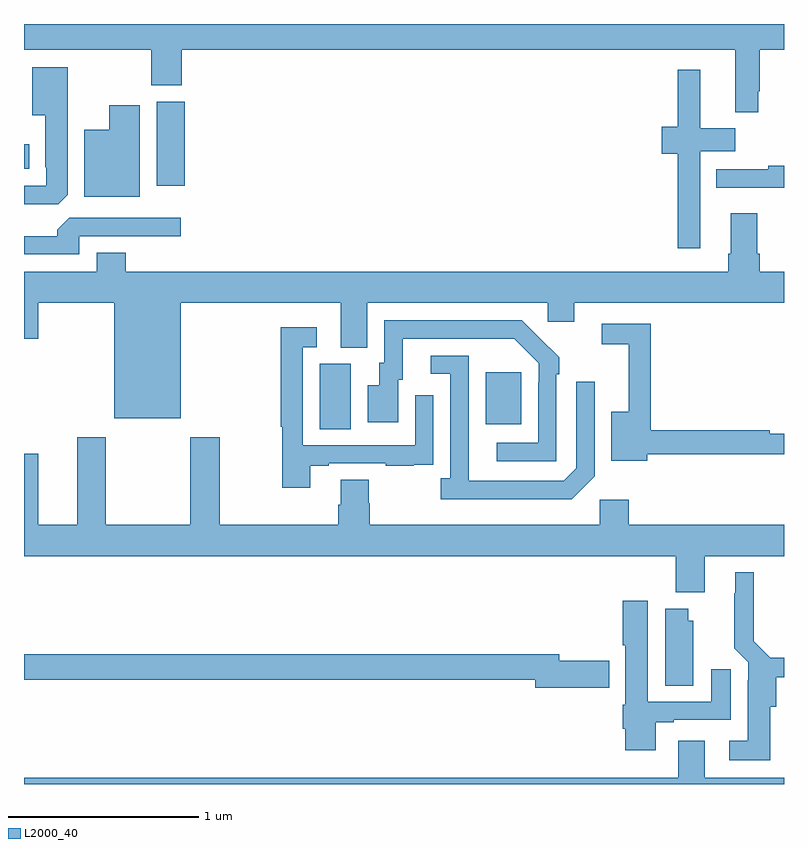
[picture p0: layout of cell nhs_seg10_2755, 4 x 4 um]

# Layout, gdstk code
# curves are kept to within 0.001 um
import gdstk
lib = gdstk.Library(unit=1e-6, precision=1e-09)
def R(c, l, rs):  # rectangles x0, y0, x1, y1
    for r in rs: c.add(gdstk.rectangle(r[:2], r[2:], *l))
def P(c, l, *ps):  # polygons
    for p in ps: c.add(gdstk.Polygon(p, *l))
L2000_40 = (2000, 40)

nhs_seg10_2755 = lib.new_cell('nhs_seg10_2755')
R(nhs_seg10_2755, L2000_40, [(262.556,1250.368,262.72,1250.712), (263.429,1250.393,263.617,1250.668), (261.698,1251.648,261.845,1252.092), (261,1251.737,261.028,1251.868)])
P(nhs_seg10_2755, L2000_40, [(264.865,1252.147),(264.873,1252.147),(264.873,1252.364),(265,1252.364),(265,1252.5),(261,1252.5),(261,1252.364),(261.67,1252.364),(261.67,1252.177),(261.83,1252.177),(261.83,1252.364),(264.743,1252.364),(264.743,1252.035),(264.865,1252.035)],
  [(261.229,1251.601),(261.229,1252.273),(261.044,1252.273),(261.044,1252.019),(261.113,1252.019),(261.113,1251.745),(261.117,1251.745),(261.117,1251.648),(261,1251.648),(261,1251.552),(261.18,1251.552)],
  [(264.559,1251.587),(264.558,1251.587),(264.558,1251.83),(264.743,1251.83),(264.743,1251.952),(264.56,1251.952),(264.56,1252.258),(264.442,1252.258),(264.442,1251.96),(264.356,1251.96),(264.356,1251.818),(264.442,1251.818),(264.442,1251.321),(264.559,1251.321)],
  [(261.61,1252.072),(261.449,1252.072),(261.449,1251.943),(261.317,1251.943),(261.317,1251.59),(261.61,1251.59)],
  [(265,1251.755),(264.917,1251.755),(264.917,1251.735),(264.643,1251.735),(264.643,1251.638),(265,1251.638)],
  [(261.826,1251.032),(262.667,1251.032),(262.667,1250.797),(262.807,1250.797),(262.807,1251.032),(263.757,1251.032),(263.757,1250.934),(263.896,1250.934),(263.896,1251.032),(265,1251.032),(265,1251.196),(264.872,1251.196),(264.872,1251.292),(264.859,1251.292),(264.859,1251.505),(264.719,1251.505),(264.719,1251.292),(264.707,1251.292),(264.707,1251.196),(261.536,1251.196),(261.536,1251.295),(261.383,1251.295),(261.383,1251.196),(261,1251.196),(261,1250.844),(261.076,1250.844),(261.076,1251.032),(261.476,1251.032),(261.476,1250.426),(261.826,1250.426)],
  [(261.291,1251.384),(261.826,1251.384),(261.826,1251.48),(261.237,1251.48),(261.176,1251.418),(261.176,1251.384),(261,1251.384),(261,1251.288),(261.291,1251.288)],
  [(263.802,1250.657),(263.817,1250.657),(263.817,1250.745),(263.62,1250.94),(262.896,1250.94),(262.896,1250.718),(262.871,1250.718),(262.871,1250.599),(262.808,1250.599),(262.808,1250.403),(262.969,1250.403),(262.969,1250.628),(262.993,1250.628),(262.993,1250.844),(263.581,1250.844),(263.709,1250.715),(263.709,1250.615),(263.706,1250.615),(263.706,1250.295),(263.487,1250.295),(263.487,1250.199),(263.802,1250.199)],
  [(264.28,1250.235),(265,1250.235),(265,1250.344),(264.926,1250.344),(264.926,1250.363),(264.299,1250.363),(264.299,1250.922),(264.042,1250.922),(264.042,1250.814),(264.182,1250.814),(264.182,1250.458),(264.092,1250.458),(264.092,1250.201),(264.28,1250.201)],
  [(262.507,1250.175),(262.603,1250.175),(262.603,1250.187),(262.903,1250.187),(262.903,1250.175),(263.051,1250.175),(263.051,1250.181),(263.153,1250.181),(263.153,1250.29),(263.154,1250.29),(263.154,1250.545),(263.058,1250.545),(263.058,1250.283),(262.467,1250.283),(262.467,1250.799),(262.54,1250.799),(262.54,1250.905),(262.351,1250.905),(262.351,1250.38),(262.359,1250.38),(262.359,1250.058),(262.507,1250.058)],
  [(264.003,1250.121),(264.003,1250.617),(263.907,1250.617),(263.907,1250.163),(263.841,1250.097),(263.341,1250.097),(263.34,1250.754),(263.142,1250.754),(263.142,1250.658),(263.244,1250.658),(263.244,1250.11),(263.193,1250.11),(263.193,1250),(263.882,1250)],
  [(264.583,1249.7),(265,1249.7),(265,1249.864),(264.182,1249.864),(264.182,1249.996),(264.03,1249.996),(264.03,1249.864),(262.82,1249.864),(262.82,1249.977),(262.815,1249.977),(262.815,1250.102),(262.667,1250.102),(262.667,1249.97),(262.655,1249.97),(262.655,1249.864),(262.029,1249.864),(262.029,1250.326),(261.874,1250.326),(261.874,1249.864),(261.429,1249.864),(261.429,1250.326),(261.281,1250.326),(261.281,1249.864),(261.076,1249.864),(261.076,1250.239),(261,1250.239),(261,1249.7),(264.431,1249.7),(264.431,1249.508),(264.583,1249.508)],
  [(264.928,1248.906),(264.959,1248.906),(264.959,1249.063),(265,1249.063),(265,1249.164),(264.928,1249.164),(264.841,1249.252),(264.841,1249.615),(264.743,1249.615),(264.743,1249.505),(264.739,1249.505),(264.739,1249.214),(264.813,1249.14),(264.813,1249.046),(264.809,1249.046),(264.809,1248.727),(264.711,1248.727),(264.711,1248.626),(264.928,1248.626)],
  [(264.325,1248.825),(264.421,1248.825),(264.421,1248.837),(264.721,1248.837),(264.721,1249.105),(264.617,1249.105),(264.617,1248.933),(264.283,1248.933),(264.283,1249.465),(264.152,1249.465),(264.152,1249.231),(264.164,1249.231),(264.164,1248.917),(264.152,1248.917),(264.152,1248.79),(264.164,1248.79),(264.164,1248.678),(264.325,1248.678)],
  [(264.523,1249.359),(264.496,1249.359),(264.496,1249.423),(264.374,1249.423),(264.374,1249.018),(264.523,1249.018)],
  [(264.079,1249.148),(263.818,1249.148),(263.818,1249.184),(261,1249.184),(261,1249.048),(263.69,1249.048),(263.69,1249.006),(264.079,1249.006)],
  [(265,1248.532),(264.583,1248.532),(264.583,1248.727),(264.443,1248.727),(264.443,1248.532),(261,1248.532),(261,1248.5),(265,1248.5)])

lib.write_gds('nhs_seg10_2755.gds')
